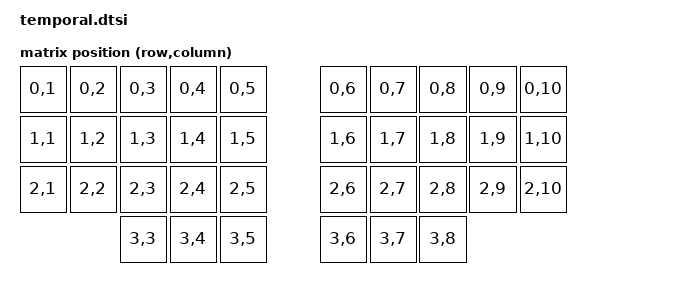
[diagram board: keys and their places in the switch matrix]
/*
 * Copyright (c) 2024 Curtis Bollinger
 *
 * SPDX-License-Identifier: MIT
 *
 * Adapted from curbol/temporal-zmk, revision
 * 306ef1f91f27a7ce5f407be3719d508489bb53da.
 * Breakoff columns removed; encoder push switches not populated.
 */

#include <dt-bindings/zmk/matrix_transform.h>
#include "temporal_layouts.dtsi"

/ {
    chosen {
        zmk,kscan = &kscan0;
        zmk,physical-layout = &temporal36_layout;
    };

    temporal36_transform: keymap_transform_0 {
        compatible = "zmk,matrix-transform";
        columns = <12>;
        rows = <4>;
        // Preserve electrical coordinates and the author's GPIO scan order.
        map = <
            RC(0,1) RC(0,2) RC(0,3) RC(0,4) RC(0,5)     RC(0,6) RC(0,7) RC(0,8) RC(0,9) RC(0,10)
            RC(1,1) RC(1,2) RC(1,3) RC(1,4) RC(1,5)     RC(1,6) RC(1,7) RC(1,8) RC(1,9) RC(1,10)
            RC(2,1) RC(2,2) RC(2,3) RC(2,4) RC(2,5)     RC(2,6) RC(2,7) RC(2,8) RC(2,9) RC(2,10)
                            RC(3,3) RC(3,4) RC(3,5)     RC(3,6) RC(3,7) RC(3,8)
        >;
    };

    kscan0: kscan {
        wakeup-source;
    };

    // Stable split sensor identities: left = 0, right = 1 in every role.
    // Only half overlays supply GPIOs and enable their local device.
    left_encoder: encoder_left {
        compatible = "alps,ec11";
        steps = <60>;
        status = "disabled";
    };

    right_encoder: encoder_right {
        compatible = "alps,ec11";
        steps = <60>;
        status = "disabled";
    };

    sensors: sensors {
        compatible = "zmk,keymap-sensors";
        sensors = <&left_encoder &right_encoder>;
        triggers-per-rotation = <20>;
        // Must stay enabled on dongles to receive forwarded sensor events.
        status = "okay";
    };
};

&temporal36_layout {
    transform = <&temporal36_transform>;
};
